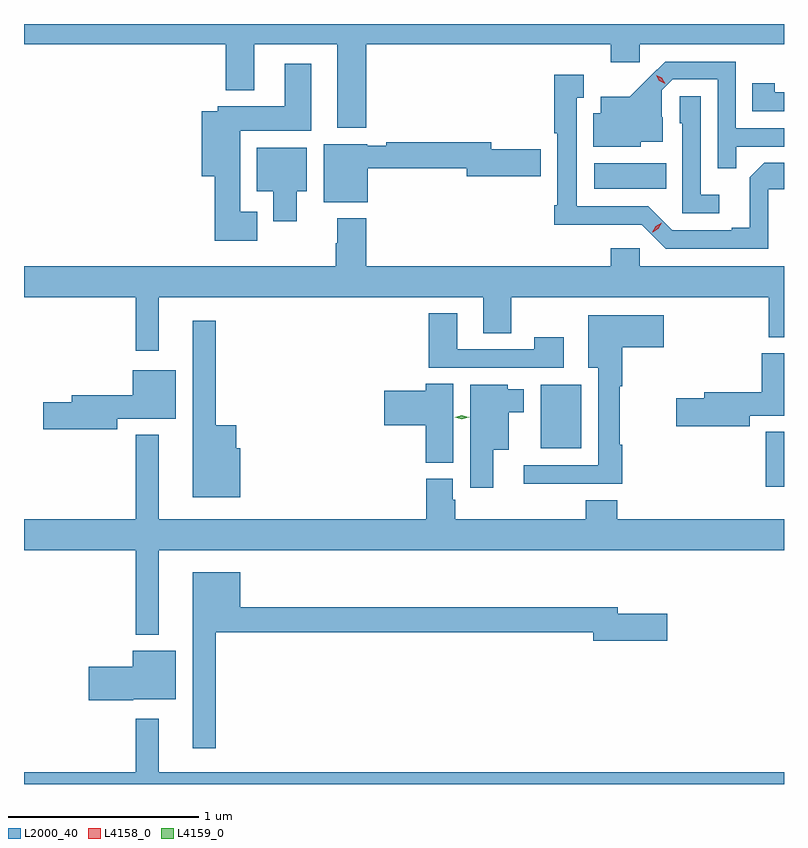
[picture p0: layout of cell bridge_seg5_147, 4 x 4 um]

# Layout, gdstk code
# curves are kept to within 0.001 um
import gdstk
lib = gdstk.Library(unit=1e-6, precision=1e-09)
def R(c, l, rs):  # rectangles x0, y0, x1, y1
    for r in rs: c.add(gdstk.rectangle(r[:2], r[2:], *l))
def P(c, l, *ps):  # polygons
    for p in ps: c.add(gdstk.Polygon(p, *l))
L2000_40 = (2000, 40)
L4158_0 = (4158, 0)
L4159_0 = (4159, 0)

bridge_seg5_147 = lib.new_cell('bridge_seg5_147')
R(bridge_seg5_147, L2000_40, [(157.151,890.394,157.246,890.683), (155.966,890.597,156.178,890.932), (156.246,891.962,156.626,892.096)])
P(bridge_seg5_147, L2000_40, [(155.048,892.724),(156.335,892.724),(156.335,892.629),(156.486,892.629),(156.486,892.724),(157.246,892.724),(157.246,892.83),(153.246,892.83),(153.246,892.724),(154.307,892.724),(154.307,892.481),(154.459,892.481),(154.459,892.724),(154.895,892.724),(154.895,892.283),(155.048,892.283)],
  [(156.995,892.185),(157.246,892.185),(157.246,892.281),(156.993,892.281),(156.993,892.632),(156.62,892.632),(156.433,892.447),(156.281,892.447),(156.281,892.36),(156.242,892.36),(156.242,892.184),(156.492,892.184),(156.492,892.211),(156.607,892.211),(156.607,892.34),(156.603,892.34),(156.603,892.482),(156.66,892.539),(156.897,892.539),(156.897,892.072),(156.995,892.072)],
  [(154.474,891.841),(154.384,891.841),(154.384,892.268),(154.759,892.268),(154.759,892.621),(154.619,892.621),(154.619,892.396),(154.266,892.396),(154.266,892.372),(154.181,892.372),(154.181,892.028),(154.25,892.028),(154.25,891.689),(154.474,891.689)],
  [(157.164,891.96),(157.246,891.96),(157.246,892.1),(157.141,892.1),(157.065,892.024),(157.065,891.757),(156.971,891.757),(156.971,891.744),(156.657,891.744),(156.531,891.87),(156.154,891.87),(156.154,892.443),(156.193,892.443),(156.193,892.564),(156.036,892.564),(156.036,892.255),(156.053,892.255),(156.053,891.877),(156.036,891.877),(156.036,891.773),(156.498,891.774),(156.624,891.648),(157.164,891.648)],
  [(157.246,892.472),(157.197,892.472),(157.197,892.519),(157.078,892.519),(157.078,892.371),(157.246,892.371)],
  [(156.904,891.931),(156.807,891.931),(156.807,892.451),(156.696,892.451),(156.696,892.308),(156.711,892.308),(156.711,891.834),(156.904,891.834)],
  [(155.056,892.072),(155.576,892.072),(155.576,892.03),(155.965,892.03),(155.965,892.172),(155.704,892.172),(155.704,892.208),(155.152,892.208),(155.152,892.188),(155.052,892.188),(155.052,892.198),(154.823,892.198),(154.823,891.893),(155.056,891.893)],
  [(154.681,891.95),(154.735,891.95),(154.735,892.18),(154.472,892.18),(154.472,891.95),(154.559,891.95),(154.559,891.792),(154.681,891.792)],
  [(153.955,891.392),(155.663,891.392),(155.663,891.202),(155.811,891.202),(155.811,891.392),(157.165,891.392),(157.165,891.182),(157.246,891.182),(157.246,891.556),(156.486,891.556),(156.486,891.649),(156.335,891.649),(156.335,891.556),(155.048,891.556),(155.048,891.808),(154.895,891.808),(154.895,891.677),(154.888,891.677),(154.888,891.556),(153.246,891.556),(153.246,891.392),(153.834,891.392),(153.834,891.111),(153.955,891.111)],
  [(156.088,891.181),(155.932,891.181),(155.932,891.117),(155.527,891.117),(155.527,891.307),(155.375,891.307),(155.375,891.021),(156.088,891.021)],
  [(156.395,890.615),(156.382,890.615),(156.382,890.924),(156.395,890.924),(156.395,891.128),(156.613,891.128),(156.613,891.298),(156.215,891.298),(156.215,891.02),(156.269,891.02),(156.269,890.508),(155.877,890.508),(155.877,890.411),(156.395,890.411)],
  [(154.384,890.598),(154.363,890.598),(154.363,890.719),(154.255,890.719),(154.255,891.268),(154.133,891.268),(154.133,890.339),(154.384,890.339)],
  [(157.066,890.768),(157.246,890.768),(157.246,891.097),(157.13,891.097),(157.13,890.891),(156.827,890.891),(156.827,890.861),(156.678,890.861),(156.678,890.714),(157.066,890.714)],
  [(153.736,890.753),(154.045,890.753),(154.045,891.007),(153.818,891.007),(153.818,890.875),(153.497,890.875),(153.497,890.84),(153.348,890.84),(153.348,890.698),(153.736,890.698)],
  [(155.506,890.936),(155.36,890.936),(155.36,890.9),(155.142,890.9),(155.142,890.717),(155.36,890.717),(155.36,890.521),(155.506,890.521)],
  [(155.716,890.588),(155.797,890.588),(155.797,890.786),(155.875,890.786),(155.875,890.908),(155.793,890.908),(155.793,890.932),(155.594,890.932),(155.594,890.388),(155.716,890.388)],
  [(153.955,890.06),(157.246,890.06),(157.246,890.224),(156.368,890.224),(156.368,890.323),(156.203,890.323),(156.203,890.224),(155.516,890.224),(155.516,890.325),(155.503,890.325),(155.503,890.436),(155.363,890.436),(155.363,890.224),(153.955,890.224),(153.955,890.668),(153.834,890.668),(153.834,890.224),(153.246,890.224),(153.246,890.06),(153.834,890.06),(153.834,889.616),(153.955,889.616)],
  [(154.255,889.63),(156.242,889.63),(156.242,889.583),(156.631,889.583),(156.631,889.725),(156.37,889.725),(156.37,889.759),(154.384,889.759),(154.384,889.945),(154.133,889.945),(154.133,889.017),(154.255,889.017)],
  [(153.822,889.277),(154.045,889.277),(154.045,889.531),(153.818,889.531),(153.818,889.448),(153.588,889.448),(153.588,889.27),(153.822,889.27)],
  [(157.246,888.892),(153.955,888.892),(153.955,889.174),(153.834,889.174),(153.834,888.892),(153.246,888.892),(153.246,888.83),(157.246,888.83)])
P(bridge_seg5_147, L4158_0, [(156.62,892.516),(156.589,892.531),(156.573,892.561),(156.573,892.561),(156.573,892.561),(156.603,892.546),(156.62,892.516),(156.62,892.516)],
  [(156.553,891.733),(156.553,891.733),(156.571,891.766),(156.603,891.785),(156.603,891.785),(156.603,891.785),(156.585,891.752),(156.554,891.733)])
P(bridge_seg5_147, L4159_0, [(155.551,890.75),(155.512,890.759),(155.512,890.76),(155.512,890.76),(155.55,890.77),(155.588,890.761),(155.589,890.761),(155.588,890.761)])

lib.write_gds('bridge_seg5_147.gds')
